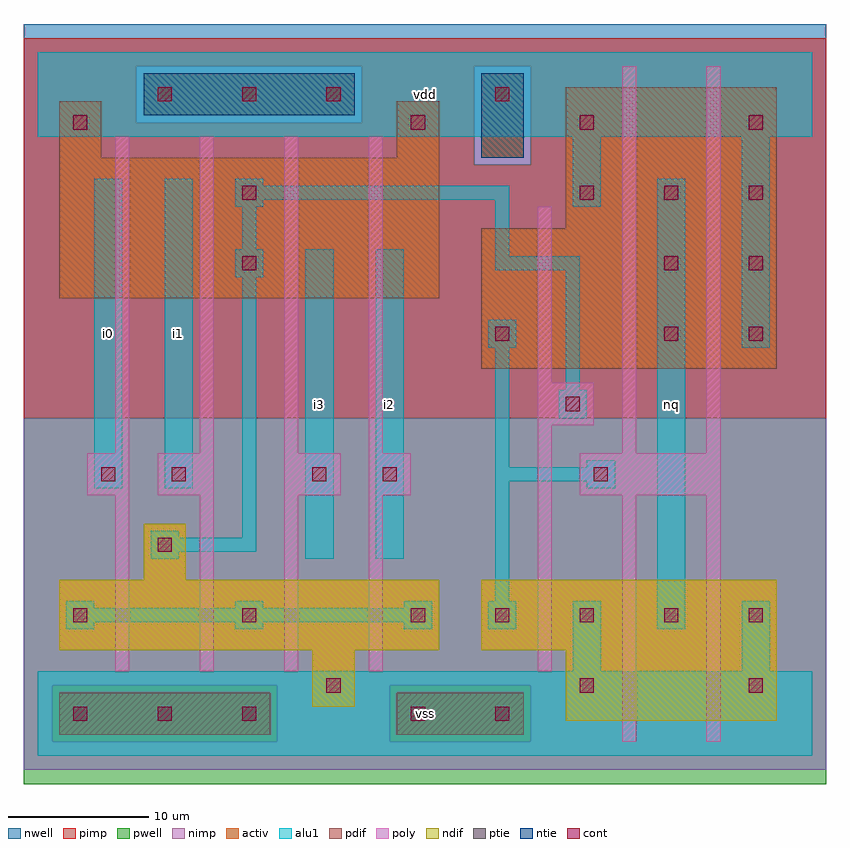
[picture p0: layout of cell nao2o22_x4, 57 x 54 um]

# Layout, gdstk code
import gdstk
lib = gdstk.Library(unit=1e-6, precision=1e-09)
def R(c, l, rs):  # rectangles x0, y0, x1, y1
    for r in rs: c.add(gdstk.rectangle(r[:2], r[2:], *l))
def A(c, l, x, y, w, h, nx, ny, dx, dy):  # array of equal rectangles
    R(c, l, [(x+i*dx, y+j*dy, x+i*dx+w, y+j*dy+h) for i in range(nx) for j in range(ny)])
ndif = (3, 0)
pdif = (4, 0)
ntie = (5, 0)
ptie = (6, 0)
cont = (25, 0)
pwell = (41, 0)
nwell = (42, 0)
activ = (43, 0)
pimp = (44, 0)
nimp = (45, 0)
poly = (46, 0)
alu1 = (49, 0)

nao2o22_x4 = lib.new_cell('nao2o22_x4')
R(nao2o22_x4, ndif, [(37.5,2.5,52.5,7.5), (19.5,3.5,22.5,7.5), (1.5,7.5,28.5,12.5), (31.5,7.5,52.5,12.5), (7.5,12.5,10.5,16.5)])
R(nao2o22_x4, pdif, [(31.5,27.5,52.5,37.5), (1.5,32.5,28.5,42.5), (37.5,37.5,52.5,47.5), (1.5,42.5,4.5,46.5), (25.5,42.5,28.5,46.5)])
R(nao2o22_x4, ntie, [(31.5,42.5,34.5,48.5), (7.5,45.5,22.5,48.5)])
R(nao2o22_x4, ptie, [(1.5,1.5,16.5,4.5), (25.5,1.5,34.5,4.5)])
A(nao2o22_x4, cont, 2.5, 2.5, 1, 1, 3, 1, 6, 0)
A(nao2o22_x4, cont, 2.5, 9.5, 1, 1, 3, 1, 12, 0)
A(nao2o22_x4, cont, 32.5, 9.5, 1, 1, 4, 1, 6, 0)
A(nao2o22_x4, cont, 38.5, 39.5, 1, 1, 3, 1, 6, 0)
A(nao2o22_x4, cont, 26.5, 44.5, 1, 1, 3, 1, 12, 0)
A(nao2o22_x4, cont, 8.5, 46.5, 1, 1, 3, 1, 6, 0)
R(nao2o22_x4, cont, [(26.5,2.5,27.5,3.5), (32.5,2.5,33.5,3.5), (20.5,4.5,21.5,5.5), (38.5,4.5,39.5,5.5), (50.5,4.5,51.5,5.5), (8.5,14.5,9.5,15.5), (4.5,19.5,5.5,20.5), (9.5,19.5,10.5,20.5), (19.5,19.5,20.5,20.5), (24.5,19.5,25.5,20.5), (39.5,19.5,40.5,20.5), (37.5,24.5,38.5,25.5), (32.5,29.5,33.5,30.5), (44.5,29.5,45.5,30.5), (50.5,29.5,51.5,30.5), (14.5,34.5,15.5,35.5), (44.5,34.5,45.5,35.5), (50.5,34.5,51.5,35.5), (14.5,39.5,15.5,40.5), (2.5,44.5,3.5,45.5), (32.5,46.5,33.5,47.5)])
R(nao2o22_x4, pwell, [(-1,-2,56,24)])
R(nao2o22_x4, nwell, [(-1,24,56,52)])
R(nao2o22_x4, activ, [(1.5,1.5,16.5,4.5), (25.5,1.5,34.5,4.5), (37.5,2.5,52.5,7.5), (19.5,3.5,22.5,7.5), (1.5,7.5,28.5,12.5), (31.5,7.5,52.5,12.5), (7.5,12.5,10.5,16.5), (31.5,27.5,52.5,37.5), (1.5,32.5,28.5,42.5), (37.5,37.5,52.5,47.5), (1.5,42.5,4.5,46.5), (25.5,42.5,28.5,46.5), (31.5,42.5,34.5,48.5), (7.5,45.5,22.5,48.5)])
R(nao2o22_x4, pimp, [(1,1,17,5), (25,1,35,5), (-1,24,56,42), (-1,42,31,45), (35,42,56,49), (-1,45,7,49), (23,45,31,49), (-1,49,56,51)])
R(nao2o22_x4, nimp, [(-1,-1,56,1), (-1,1,1,5), (17,1,25,5), (35,1,56,5), (-1,5,56,24), (31,42,35,49), (7,45,23,49)])
A(nao2o22_x4, poly, 5.5, 6, 1, 12.5, 4, 1, 6, 0)
A(nao2o22_x4, poly, 5.5, 21.5, 1, 22.5, 4, 1, 6, 0)
R(nao2o22_x4, poly, [(41.5,1,42.5,18.5), (47.5,1,48.5,18.5), (35.5,6,36.5,23.5), (3.5,18.5,6.5,21.5), (8.5,18.5,12.5,21.5), (17.5,18.5,21.5,21.5), (23.5,18.5,26.5,21.5), (38.5,18.5,48.5,21.5), (41.5,21.5,42.5,49), (47.5,21.5,48.5,49), (35.5,23.5,39.5,26.5), (35.5,26.5,36.5,39)])
A(nao2o22_x4, alu1, 2, 9, 2, 0.5, 3, 2, 12, 1.5)
R(nao2o22_x4, alu1, [(0,0,55,6), (38,6,40,11), (50,6,52,11), (32,9,34,11), (44,9,46,41), (2,9.5,28,10.5), (32.5,11,33.5,19.5), (8,14,10,14.5), (19,14,21,36), (24,14,26,36), (8,14.5,15.5,15.5), (8,15.5,10,16), (14.5,15.5,15.5,34), (4,19,6,41), (9,19,11,41), (39,19,41,19.5), (32.5,19.5,41,20.5), (32.5,20.5,33.5,29), (39,20.5,41,21), (37,24,39,26), (37.5,26,38.5,34.5), (32,29,34,31), (50,29,52,44), (14,34,16,36), (32.5,34.5,38.5,35.5), (32.5,35.5,33.5,39.5), (14.5,36,15.5,39), (14,39,16,39.5), (38,39,40,44), (14,39.5,33.5,40.5), (14,40.5,16,41), (0,44,55,50)])
nao2o22_x4.add(gdstk.Label('i0', (5,30), layer=49, texttype=0))
nao2o22_x4.add(gdstk.Label('i1', (10,30), layer=49, texttype=0))
nao2o22_x4.add(gdstk.Label('vss', (27.5,3), layer=49, texttype=0))
nao2o22_x4.add(gdstk.Label('i3', (20,25), layer=49, texttype=0))
nao2o22_x4.add(gdstk.Label('i2', (25,25), layer=49, texttype=0))
nao2o22_x4.add(gdstk.Label('vdd', (27.5,47), layer=49, texttype=0))
nao2o22_x4.add(gdstk.Label('nq', (45,25), layer=49, texttype=0))

lib.write_gds('nao2o22_x4.gds')
